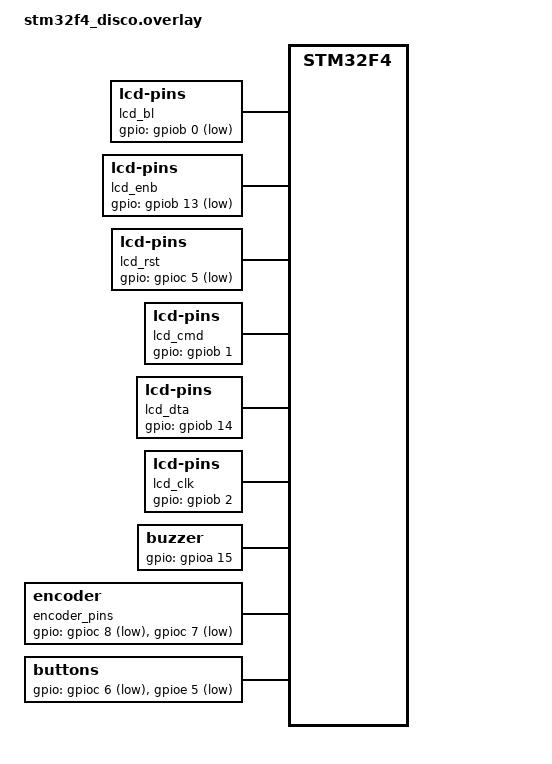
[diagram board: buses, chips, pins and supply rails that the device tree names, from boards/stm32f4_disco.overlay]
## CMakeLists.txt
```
# SPDX-License-Identifier: Apache-2.0

cmake_minimum_required(VERSION 3.20.0)
set(ZEPHYR_EXTRA_MODULES $ENV{ZEPHYR_BASE}../../modules/zpp)
find_package(Zephyr REQUIRED HINTS $ENV{ZEPHYR_BASE})
project(condvar)

FILE(GLOB app_sources src/main.cpp)
target_sources(app PRIVATE ${app_sources})
```

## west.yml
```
# Copyright (c) 2021 Nordic Semiconductor ASA
# SPDX-License-Identifier: Apache-2.0

manifest:
  remotes:
    - name: zephyrproject-rtos
      url-base: https://github.com/zephyrproject-rtos

  projects:
    - name: zephyr
      remote: zephyrproject-rtos
      revision: main
      import:
        name-allowlist:
          - cmsis
          - hal_stm32
```

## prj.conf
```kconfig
CONFIG_GPIO=y
CONFIG_TEST=y
CONFIG_CPLUSPLUS=y
CONFIG_STD_CPP20=y
CONFIG_NEWLIB_LIBC=y
CONFIG_NEWLIB_LIBC_NANO=y
CONFIG_SPEED_OPTIMIZATIONS=y
CONFIG_LIB_CPLUSPLUS=y
CONFIG_HEAP_MEM_POOL_SIZE=4096
CONFIG_DEBUG_OPTIMIZATIONS=n
#CONFIG_COMPILER_OPT="-Wall -Wextra -Werror -Wno-error=empty-body -Wno-error=unused-parameter -Wno-error=type-limits -Wno-error=missing-field-initializers -Wno-error=sign-compare -Wno-error=ignored-qualifiers -Wno-error=old-style-declaration -Wno-error=cast-function-type"
```

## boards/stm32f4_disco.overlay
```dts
/ {				
	lcd_bl: lcd_bl {			
		compatible = "lcd-pins";
		gpios = <&gpiob 0 GPIO_ACTIVE_LOW>;	
	};
	lcd_enb: lcd_enb {			
		compatible = "lcd-pins";
		gpios = <&gpiob 13 GPIO_ACTIVE_LOW>;
	};
	lcd_rst: lcd_rst {			
		compatible = "lcd-pins";
		gpios = <&gpioc 5 GPIO_ACTIVE_LOW>;
	};		
	lcd_cmd: lcd_cmd {			
		compatible = "lcd-pins";
		gpios = <&gpiob 1 GPIO_ACTIVE_HIGH>;
	};		
	lcd_dta: lcd_dta {			
		compatible = "lcd-pins";
		gpios = <&gpiob 14 GPIO_ACTIVE_HIGH>;
	};		
	lcd_clk: lcd_clk {			
		compatible = "lcd-pins";
		gpios = <&gpiob 2 GPIO_ACTIVE_HIGH>;
	};			
	buzzer: buzzer {
		compatible = "buzzer";
		gpios = <&gpioa 15 GPIO_ACTIVE_HIGH>;
	};
	encoder_pins: encoder_pins {
		compatible = "encoder";
		gpios = <&gpioc 8 (GPIO_ACTIVE_LOW | GPIO_PULL_UP)>,
				<&gpioc 7 (GPIO_ACTIVE_LOW | GPIO_PULL_UP)>;
	};
	buttons: buttons {
		compatible = "buttons";
		gpios = <&gpioc 6 (GPIO_ACTIVE_LOW | GPIO_PULL_UP)>,
				<&gpioe 5 (GPIO_ACTIVE_LOW | GPIO_PULL_UP)>;
	};		
};
```

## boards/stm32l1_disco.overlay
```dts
/ {				
	lcd_bl: lcd_bl {			
		compatible = "lcd-pins";
		gpios = <&gpiob 0 GPIO_ACTIVE_LOW>;	
	};
	lcd_enb: lcd_enb {			
		compatible = "lcd-pins";
		gpios = <&gpiob 13 GPIO_ACTIVE_LOW>;
	};
	lcd_rst: lcd_rst {			
		compatible = "lcd-pins";
		gpios = <&gpioc 5 GPIO_ACTIVE_LOW>;
	};		
	lcd_cmd: lcd_cmd {			
		compatible = "lcd-pins";
		gpios = <&gpiob 1 GPIO_ACTIVE_HIGH>;
	};		
	lcd_dta: lcd_dta {			
		compatible = "lcd-pins";
		gpios = <&gpiob 14 GPIO_ACTIVE_HIGH>;
	};		
	lcd_clk: lcd_clk {			
		compatible = "lcd-pins";
		gpios = <&gpiob 2 GPIO_ACTIVE_HIGH>;
	};			
	buzzer: buzzer {
		compatible = "buzzer";
		gpios = <&gpioa 11 GPIO_ACTIVE_LOW>;
	};
	encoder_pins: encoder_pins {
		compatible = "encoder";
		gpios = <&gpioa 2 (GPIO_ACTIVE_LOW | GPIO_PULL_UP)>,
				<&gpiob 4 (GPIO_ACTIVE_LOW | GPIO_PULL_UP)>;
	};
	buttons: buttons {
		compatible = "buttons";
		gpios = <&gpioa 0 (GPIO_ACTIVE_LOW | GPIO_PULL_UP)>,
				<&gpioc 13 (GPIO_ACTIVE_LOW | GPIO_PULL_UP)>;
	};		
};
```

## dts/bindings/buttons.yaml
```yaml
description: GPIO input pin to buttons

compatible: "buttons"

properties:
  gpios:
    type: phandle-array
    required: true
    description: |
      The GPIO connected to the buttons pin
```

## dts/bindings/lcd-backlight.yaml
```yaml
description: GPIO pin to switch a lcd-backlight

compatible: "lcd-backlight"

properties:
  gpios:
    type: phandle-array
    required: true
    description: |
      The GPIO connected to the LCD backlight pin
```

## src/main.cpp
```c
/*
    Main.cpp
	
    Created on: July 31, 2023

    Author: Coskun ERGAN
*/

#include <zephyr/devicetree.h>
#include <zephyr/kernel.h>

#include <zpp.hpp>
#include <chrono>
#include "printf_io.h"
#include "button.h"
#include "buzzer.h"
#include "encoder.h"

#define STACK_SIZE (1024 + CONFIG_TEST_EXTRA_STACK_SIZE)

using namespace zpp;
using namespace std::chrono;
using namespace device_printf;
using namespace device_button;
using namespace device_buzzer;
using namespace device_encoder;

#define NUM_THREADS 2

mutex enc_mutex;
mutex btn_mutex;

namespace
{
    ZPP_THREAD_STACK_ARRAY_DEFINE(tstack, NUM_THREADS, STACK_SIZE);
    thread_data tcb[NUM_THREADS];
    thread t[NUM_THREADS];
}

void btn_task(int my_id) noexcept
{
    unique_lock lk(btn_mutex);

    button.set_debounce_time(100ms);

    for(;;)
    {
        button.event_cv().wait(lk);
        buzzer.beep(20ms);
        printf_io.turn_off_bl_enable();
        printf("\rButton : %d Pressed.  ", button.get_id());
    }
}

void enc_task(int my_id) noexcept
{
    unique_lock lk(enc_mutex);

    for(;;)
    {
        encoder.event_cv().wait(lk);
        buzzer.beep(5ms);
        printf_io.turn_off_bl_enable();
        printf("\rEnc : %d  ", encoder.get_count());
    }
}

int main(void)
{
    printf_io.turn_off_bl_enable();
    printf("\rRestart..");
    buzzer.beep();

    const thread_attr attrs(
        thread_prio::preempt(10),
        thread_inherit_perms::no,
        thread_suspend::no
    );

    t[0] = thread(tcb[0], tstack(0), attrs, enc_task, 1);
    t[1] = thread(tcb[1], tstack(1), attrs, btn_task, 2);

    for(int i = 0; i < NUM_THREADS; i++)
    {
        t[i].join();
    }

    return 0;
}
```

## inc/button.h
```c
/*
    Button Lib

    Created on: July 26, 2023

    Author: Coskun ERGAN
*/

#pragma once
#include <stdio.h>
#include <zephyr/devicetree.h>
#include <zephyr/drivers/gpio.h>
#include <zephyr/kernel.h>

#include <zpp.hpp>
#include <zpp/timer.hpp>
#include <chrono>
#include <zpp/thread.hpp>
#include <zpp/fmt.hpp>
#include <forward_list>
#include <functional>

namespace device_button
{
    using namespace zpp;
    using namespace std::chrono;
#define NUM_BUTTON_PINS DT_PROP_LEN(DT_PATH(buttons), gpios)
#if !DT_NODE_EXISTS(DT_NODELABEL(buttons))
#error "Overlay for button node not properly defined."
#endif
    static const struct gpio_dt_spec buttons[] =
    {
        GPIO_DT_SPEC_GET_BY_IDX(DT_NODELABEL(buttons), gpios, 0),
#if NUM_BUTTON_PINS >= 2
        GPIO_DT_SPEC_GET_BY_IDX(DT_NODELABEL(buttons), gpios, 1),
#endif
#if NUM_BUTTON_PINS >= 3
        GPIO_DT_SPEC_GET_BY_IDX(DT_NODELABEL(buttons), gpios, 2),
#endif
#if NUM_BUTTON_PINS >= 4
        GPIO_DT_SPEC_GET_BY_IDX(DT_NODELABEL(buttons), gpios, 3),
#endif
#if NUM_BUTTON_PINS >= 5
        GPIO_DT_SPEC_GET_BY_IDX(DT_NODELABEL(buttons), gpios, 4),
#endif
#if NUM_BUTTON_PINS >= 6
        GPIO_DT_SPEC_GET_BY_IDX(DT_NODELABEL(buttons), gpios, 5),
#endif
    };

    static struct gpio_callback button_cb_data[NUM_BUTTON_PINS];
    static condition_variable button_cv;
    static milliseconds debounce_time;
    static size_t button_id;

    void timer_callback(timer_base *t);

    class timer_wrapper
    {
    public:
        timer_wrapper() noexcept : tmr(basic_timer(timer_callback)) {};
        basic_timer<void(*)(timer_base *)> tmr;
    };
    timer_wrapper timers[NUM_BUTTON_PINS];

    void timer_callback(timer_base *t) noexcept
    {
        for(size_t i = 0; i < NUM_BUTTON_PINS; i++)
        {
            if(&timers[i].tmr == t)
            {
                gpio_add_callback(buttons[i].port, &button_cb_data[i]);
            }
        }
    }

    void button_isr(const struct device *dev, struct gpio_callback *cb, uint32_t pin) noexcept
    {
        for(size_t i = 0; i < NUM_BUTTON_PINS; i++)
        {
            if(&button_cb_data[i] == cb)
            {
                button_id = i;
                gpio_remove_callback(buttons[i].port, &button_cb_data[i]);
                timers[i].tmr.start(debounce_time);
            }
        }
        button_cv.notify_all();
    }

    class button
    {
    public:
        button()
        {
            set_debounce_time();
            for(size_t i = 0; i < NUM_BUTTON_PINS; i++)
            {
                gpio_pin_configure_dt(&buttons[i], GPIO_INPUT);
                gpio_pin_interrupt_configure_dt(&buttons[i], GPIO_INT_EDGE_TO_ACTIVE);
                gpio_init_callback(&button_cb_data[i], button_isr, BIT(buttons[i].pin));
                gpio_add_callback(buttons[i].port, &button_cb_data[i]);
            }
        }
        ~button() = default;
        button(button &&) = delete;
        button &operator=(button &&) = delete;
        button(const button &) = delete;
        button &operator=(const button &) = delete;

        void set_debounce_time(milliseconds ms = 50ms)
        {
            debounce_time = ms;
        }

        milliseconds get_debounce_time()
        {
            return debounce_time;
        }

        size_t get_id()
        {
            return button_id;
        }        

        condition_variable &event_cv()
        {
            return button_cv;
        }
    };

    button button;
}
```

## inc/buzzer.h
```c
/*
    Buzzer Lib

    Created on: March 13, 2023

    Author: Coskun ERGAN
*/

#pragma once
#include <stdio.h>
#include <zephyr/devicetree.h>
#include <zephyr/drivers/gpio.h>
#include <zephyr/kernel.h>

#include <zpp.hpp>
#include <zpp/timer.hpp>
#include <chrono>
#include <zpp/thread.hpp>
#include <zpp/fmt.hpp>

namespace device_buzzer
{
    using namespace zpp;
    using namespace std::chrono;
#if !DT_NODE_EXISTS(DT_NODELABEL(buzzer))
#error "Overlay for gipo node not properly defined."
#endif

    static const struct gpio_dt_spec buzzer_pin =
        GPIO_DT_SPEC_GET_OR(DT_NODELABEL(buzzer), gpios,
                            {
                                0
                            });

    void timer_callback(timer_base *t) noexcept
    {
        gpio_pin_set_dt(&buzzer_pin, false);
    }

    auto g_t = make_timer(timer_callback);
    
    class buzzer
    {
    public:
        buzzer()
        {
            if(gpio_pin_configure_dt(&buzzer_pin, GPIO_OUTPUT_INACTIVE) != 0)
            {
                return;
            }
        }
        ~buzzer() = default;
        buzzer(buzzer &&) = delete;
        buzzer &operator=(buzzer &&) = delete;
        buzzer(const buzzer &) = delete;
        buzzer &operator=(const buzzer &) = delete;

        void beep(milliseconds ms = 50ms)
        {
            gpio_pin_set_dt(&buzzer_pin, true);
            g_t.start(ms);
        }
    private:
    };

    buzzer buzzer;
}
```

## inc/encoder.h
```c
/*
    Encoder Lib

    Created on: March 13, 2023

    Author: Coskun ERGAN
*/

#pragma once
#include <stdio.h>
#include <zephyr/devicetree.h>
#include <zephyr/drivers/gpio.h>
#include <zephyr/kernel.h>

#include <zpp.hpp>
#include <zpp/timer.hpp>
#include <chrono>
#include <zpp/thread.hpp>
#include <zpp/fmt.hpp>
#include <zpp/atomic_var.hpp>

namespace device_encoder
{
    using namespace zpp;
    using namespace std::chrono;
#if !DT_NODE_EXISTS(DT_NODELABEL(encoder_pins))
#error "Overlay for gipo node not properly defined."
#endif
    static const struct gpio_dt_spec encoder_pins[2] =
    {
        GPIO_DT_SPEC_GET_BY_IDX(DT_NODELABEL(encoder_pins), gpios, 0),
        GPIO_DT_SPEC_GET_BY_IDX(DT_NODELABEL(encoder_pins), gpios, 1)
    };

    static struct gpio_callback encoder_cb_data;
    static milliseconds m_debounce_time;
    static atomic_var m_atomic_count;
    static condition_variable m_encoder_cv;

    void timer_callback(timer_base *t)
    {
        gpio_add_callback(encoder_pins[0].port, &encoder_cb_data);
    }

    basic_timer timer = basic_timer(timer_callback);

    void encoder_isr(const struct device *dev, struct gpio_callback *cb, uint32_t pin) noexcept
    {
        if(gpio_pin_get_dt(&encoder_pins[1]))
        {
            ++m_atomic_count;
        }
        else
        {
            --m_atomic_count;
        }
        gpio_remove_callback(encoder_pins[0].port, &encoder_cb_data);
        timer.start(m_debounce_time);
        m_encoder_cv.notify_all();
    }

    class encoder
    {
    public:
        encoder()
        {
            set_debounce_time();
            gpio_pin_configure_dt(&encoder_pins[0], GPIO_INPUT);
            gpio_pin_configure_dt(&encoder_pins[1], GPIO_INPUT);
            gpio_pin_interrupt_configure_dt(&encoder_pins[0], GPIO_INT_EDGE_TO_ACTIVE);
            gpio_init_callback(&encoder_cb_data, encoder_isr, BIT(encoder_pins[0].pin));
            gpio_add_callback(encoder_pins[0].port, &encoder_cb_data);
        }
        ~encoder() = default;
        encoder(encoder &&) = delete;
        encoder &operator=(encoder &&) = delete;
        encoder(const encoder &) = delete;
        encoder &operator=(const encoder &) = delete;

        void set_debounce_time(milliseconds ms = 50ms)
        {
            m_debounce_time = ms;
        }

        milliseconds get_debounce_time()
        {
            return m_debounce_time;
        }

        int get_count()
        {
            return m_atomic_count; // m_atomic_count.load();
        }

        void set_count(int val)
        {
            m_atomic_count = val; // m_atomic_count.store(val);
        }

        condition_variable &event_cv()
        {
            return m_encoder_cv;
        }
    };

    encoder encoder;
}
```

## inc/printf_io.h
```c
/*
    C Type Printf Implementation

    Created on: July 26, 2023

    Author: Coskun ERGAN
*/

#pragma once
#include <stdio.h>
#include <zephyr/devicetree.h>
#include <zephyr/drivers/gpio.h>
#include <zephyr/kernel.h>
#include <zephyr/arch/cpu.h>
#include <zephyr/sys/arch_interface.h>

#include <zpp.hpp>
#include <chrono>

namespace device_printf
{
    extern "C" void __stdout_hook_install(int (*fn)(int));
    extern "C" int printf_io_write(int c);
    const std::chrono::milliseconds bl_msec = std::chrono::milliseconds(5000);

    static const struct gpio_dt_spec lcd_bl =
        GPIO_DT_SPEC_GET_OR(DT_NODELABEL(lcd_bl), gpios,
                            {
                                0
                            });
    static const struct gpio_dt_spec lcd_rst =
        GPIO_DT_SPEC_GET_OR(DT_NODELABEL(lcd_rst), gpios,
                            {
                                0
                            });
    static const struct gpio_dt_spec lcd_enb =
        GPIO_DT_SPEC_GET_OR(DT_NODELABEL(lcd_enb), gpios,
                            {
                                0
                            });
    static const struct gpio_dt_spec lcd_cmd =
        GPIO_DT_SPEC_GET_OR(DT_NODELABEL(lcd_cmd), gpios,
                            {
                                0
                            });
    static const struct gpio_dt_spec lcd_dta =
        GPIO_DT_SPEC_GET_OR(DT_NODELABEL(lcd_dta), gpios,
                            {
                                0
                            });
    static const struct gpio_dt_spec lcd_clk =
        GPIO_DT_SPEC_GET_OR(DT_NODELABEL(lcd_clk), gpios,
                            {
                                0
                            });

    const uint8_t init_params[] =
    {
        0xF1, 0x0F, 0xF8, 0x01, 0x06, 0xF0, 0x00, 0x2D, 0xA8, 0xA3, 0x81, 0x8, 0xFF
    };

    const uint8_t char_table[111][6] =
    {
        0x00, 0x00, 0x00, 0x00, 0x00, 0x00, // SPACE
        0x00, 0x00, 0x5F, 0x00, 0x00, 0x00, // !
        0x00, 0x03, 0x00, 0x03, 0x00, 0x00, // "
        0x14, 0x3E, 0x14, 0x3E, 0x14, 0x00, // #
        0x24, 0x2A, 0x7F, 0x2A, 0x12, 0x00, // $
        0x43, 0x33, 0x08, 0x66, 0x61, 0x00, // %
        0x36, 0x49, 0x55, 0x22, 0x50, 0x00, // &
        0x00, 0x05, 0x03, 0x00, 0x00, 0x00, // '
        0x00, 0x1C, 0x22, 0x41, 0x00, 0x00, // (
        0x00, 0x41, 0x22, 0x1C, 0x00, 0x00, // )
        0x14, 0x08, 0x3E, 0x08, 0x14, 0x00, // *
        0x08, 0x08, 0x3E, 0x08, 0x08, 0x00, // +
        0x00, 0x50, 0x30, 0x00, 0x00, 0x00, // ,
        0x08, 0x08, 0x08, 0x08, 0x08, 0x00, // -
        0x00, 0x60, 0x60, 0x00, 0x00, 0x00, // .
        0x20, 0x10, 0x08, 0x04, 0x02, 0x00, // /
        0x3E, 0x51, 0x49, 0x45, 0x3E, 0x00, // 0
        0x04, 0x02, 0x7F, 0x00, 0x00, 0x00, // 1
        0x42, 0x61, 0x51, 0x49, 0x46, 0x00, // 2
        0x22, 0x41, 0x49, 0x49, 0x36, 0x00, // 3
        0x18, 0x14, 0x12, 0x7F, 0x10, 0x00, // 4
        0x27, 0x45, 0x45, 0x45, 0x39, 0x00, // 5
        0x3E, 0x49, 0x49, 0x49, 0x32, 0x00, // 6
        0x01, 0x01, 0x71, 0x09, 0x07, 0x00, // 7
        0x36, 0x49, 0x49, 0x49, 0x36, 0x00, // 8
        0x26, 0x49, 0x49, 0x49, 0x3E, 0x00, // 9
        0x00, 0x36, 0x36, 0x00, 0x00, 0x00, // :
        0x00, 0x56, 0x36, 0x00, 0x00, 0x00, // ;
        0x08, 0x14, 0x22, 0x41, 0x00, 0x00, // <
        0x14, 0x14, 0x14, 0x14, 0x14, 0x00, // =
        0x00, 0x41, 0x22, 0x14, 0x08, 0x00, // >
        0x02, 0x01, 0x51, 0x09, 0x06, 0x00, // ?
        0x00, 0x06, 0x09, 0x09, 0x06, 0x00, // @
        0x7E, 0x09, 0x09, 0x09, 0x7E, 0x00, // A
        0x7F, 0x49, 0x49, 0x49, 0x36, 0x00, // B
        0x3E, 0x41, 0x41, 0x41, 0x22, 0x00, // C
        0x7F, 0x41, 0x41, 0x41, 0x3E, 0x00, // D
        0x7F, 0x49, 0x49, 0x49, 0x41, 0x00, // E
        0x7F, 0x09, 0x09, 0x09, 0x01, 0x00, // F
        0x3E, 0x41, 0x41, 0x49, 0x3A, 0x00, // G
        0x7F, 0x08, 0x08, 0x08, 0x7F, 0x00, // H
        0x00, 0x41, 0x7F, 0x41, 0x00, 0x00, // I
        0x30, 0x40, 0x40, 0x40, 0x3F, 0x00, // J
        0x7F, 0x08, 0x14, 0x22, 0x41, 0x00, // K
        0x7F, 0x40, 0x40, 0x40, 0x40, 0x00, // L
        0x7F, 0x02, 0x0C, 0x02, 0x7F, 0x00, // M
        0x7F, 0x02, 0x04, 0x08, 0x7F, 0x00, // N
        0x3E, 0x41, 0x41, 0x41, 0x3E, 0x00, // O
        0x7F, 0x09, 0x09, 0x09, 0x06, 0x00, // P
        0x1E, 0x21, 0x21, 0x21, 0x5E, 0x00, // Q
        0x7F, 0x09, 0x09, 0x09, 0x76, 0x00, // R
        0x26, 0x49, 0x49, 0x49, 0x32, 0x00, // S
        0x01, 0x01, 0x7F, 0x01, 0x01, 0x00, // T
        0x3F, 0x40, 0x40, 0x40, 0x3F, 0x00, // U
        0x1F, 0x20, 0x40, 0x20, 0x1F, 0x00, // V
        0x7F, 0x20, 0x10, 0x20, 0x7F, 0x00, // W
        0x63, 0x14, 0x08, 0x14, 0x63, 0x00, // X
        0x07, 0x08, 0x70, 0x08, 0x07, 0x00, // Y
        0x61, 0x51, 0x49, 0x45, 0x43, 0x00, // Z
        0x00, 0x7F, 0x41, 0x00, 0x00, 0x00, // [
        0x02, 0x04, 0x08, 0x10, 0x20, 0x00, //
        0x00, 0x00, 0x41, 0x7F, 0x00, 0x00, // ]
        0x00, 0x06, 0x09, 0x09, 0x06, 0x00, // ^ -> degree
        0x40, 0x40, 0x40, 0x40, 0x40, 0x00, // _
        0x00, 0x01, 0x02, 0x04, 0x00, 0x00, // `
        0x20, 0x54, 0x54, 0x54, 0x78, 0x00, // a
        0x7F, 0x44, 0x44, 0x44, 0x38, 0x00, // b
        0x38, 0x44, 0x44, 0x44, 0x44, 0x00, // c
        0x38, 0x44, 0x44, 0x44, 0x7F, 0x00, // d
        0x38, 0x54, 0x54, 0x54, 0x18, 0x00, // e
        0x04, 0x04, 0x7E, 0x05, 0x05, 0x00, // f
        0x08, 0x54, 0x54, 0x54, 0x3C, 0x00, // g
        0x7F, 0x08, 0x04, 0x04, 0x78, 0x00, // h
        0x00, 0x44, 0x7D, 0x40, 0x00, 0x00, // i
        0x20, 0x40, 0x44, 0x3D, 0x00, 0x00, // j
        0x7F, 0x10, 0x28, 0x44, 0x00, 0x00, // k
        0x00, 0x41, 0x7F, 0x40, 0x00, 0x00, // l
        0x7C, 0x04, 0x78, 0x04, 0x78, 0x00, // m
        0x7C, 0x08, 0x04, 0x04, 0x78, 0x00, // n
        0x38, 0x44, 0x44, 0x44, 0x38, 0x00, // o
        0x7C, 0x14, 0x14, 0x14, 0x08, 0x00, // p
        0x08, 0x14, 0x14, 0x14, 0x7C, 0x00, // q
        0x00, 0x7C, 0x08, 0x04, 0x04, 0x00, // r
        0x48, 0x54, 0x54, 0x54, 0x20, 0x00, // s
        0x04, 0x04, 0x3F, 0x44, 0x44, 0x00, // t
        0x3C, 0x40, 0x40, 0x20, 0x7C, 0x00, // u
        0x1C, 0x20, 0x40, 0x20, 0x1C, 0x00, // v
        0x3C, 0x40, 0x30, 0x40, 0x3C, 0x00, // w
        0x44, 0x28, 0x10, 0x28, 0x44, 0x00, // x
        0x0C, 0x50, 0x50, 0x50, 0x3C, 0x00, // y
        0x44, 0x64, 0x54, 0x4C, 0x44, 0x00, // z
        0x00, 0x08, 0x36, 0x41, 0x41, 0x00, // {
        0x00, 0x00, 0x7F, 0x00, 0x00, 0x00, // |
        0x41, 0x41, 0x36, 0x08, 0x00, 0x00, // }
        0x02, 0x01, 0x02, 0x04, 0x02, 0x00, // ~
        0x30, 0x48, 0xC8, 0x48, 0x00, 0x00, //ç
        0x10, 0xAA, 0xAA, 0xA8, 0x70, 0x00, //ğ
        0x00, 0x00, 0x7C, 0x00, 0x00, 0x00, //ı
        0x38, 0x45, 0x44, 0x45, 0x38, 0x00, //ö
        0x58, 0x54, 0xD4, 0x54, 0x30, 0x00, //ş
        0x38, 0x41, 0x40, 0x41, 0x38, 0x00, //ü
        0x3E, 0x41, 0xC1, 0x41, 0x22, 0x00, //Ç
        0x3C, 0x43, 0x53, 0x53, 0x34, 0x00, //Ğ
        0x00, 0x00, 0x7D, 0x00, 0x00, 0x00, //İ
        0x3C, 0x43, 0x42, 0x43, 0x3C, 0x00, //Ö
        0x26, 0x49, 0xC9, 0x49, 0x32, 0x00, //Ş
        0x3C, 0x41, 0x40, 0x41, 0x3C, 0x00, //Ü
        0x00, 0x00, 0x11, 0x15, 0x0A, 0x00, //3
        0x10, 0x38, 0x7C, 0xFE, 0x38, 0x38, //<
        0x38, 0x38, 0xFE, 0x7C, 0x38, 0x10  //>
    };

    class printf_io
    {
    public:
        //static std::unique_ptr<std::mutex> m_mutex;
        printf_io()
        {
            __stdout_hook_install(printf_io_write);
            setvbuf(stdout, NULL, _IONBF, 0);
            gpio_pin_configure_dt(&lcd_rst, GPIO_OUTPUT_INACTIVE);
            gpio_pin_configure_dt(&lcd_bl, GPIO_OUTPUT_INACTIVE);
            gpio_pin_configure_dt(&lcd_enb, GPIO_OUTPUT_INACTIVE);
            gpio_pin_configure_dt(&lcd_cmd, GPIO_OUTPUT_INACTIVE);
            gpio_pin_configure_dt(&lcd_dta, GPIO_OUTPUT_INACTIVE);
            gpio_pin_configure_dt(&lcd_clk, GPIO_OUTPUT_INACTIVE);
            volatile uint8_t i = 0;
            gpio_pin_set_dt(&lcd_rst, true);
            while(--i);
            gpio_pin_set_dt(&lcd_enb, true);
            gpio_pin_set_dt(&lcd_rst, false);
            while(--i);
            gpio_pin_set_dt(&lcd_cmd, false);
            i = 0;
            do
            {
                io_send(init_params[i++]);
            }
            while(i <= sizeof(init_params));
            io_send(0xAF);
            io_send(0xB0);
            for(uint8_t i = 0; i < 16; i++)
            {
                gpio_pin_set_dt(&lcd_cmd, false);
                io_send(i);
                io_send(0x10);
                gpio_pin_set_dt(&lcd_cmd, true);
                io_send(0x00);
            }
            gpio_pin_set_dt(&lcd_cmd, false);
            io_send(0xB8);
            for(i = 0; i < 96; i++)
            {
                gpio_pin_set_dt(&lcd_cmd, false);
                io_send(i & 0xF);
                io_send((i >> 4) | 0x10);
                gpio_pin_set_dt(&lcd_cmd, true);
                io_send(0x00);
            }
            gpio_pin_set_dt(&lcd_cmd, false);
            io_send(0xB0);
            io_send(0x00);
            io_send(0x11);
            gpio_pin_set_dt(&lcd_cmd, true);
            ch_count = 0;
        }
        ~printf_io() = default;
        printf_io(printf_io &&) = delete;
        printf_io &operator=(printf_io &&) = delete;
        printf_io(const printf_io &) = delete;
        printf_io &operator=(const printf_io &) = delete;

        int io_putchar(int ch)
        {
            if((ch == '\r') || (ch_count > 25))
            {
                if(ch == '\r')
                {
                    ch_count = 0;
                }
                gpio_pin_set_dt(&lcd_cmd, false);
                io_send(0xB0);
                io_send(0x00);
                io_send(0x11);
                gpio_pin_set_dt(&lcd_cmd, true);

            }
            else if(ch == '\n')
            {
                if(ch_count < 14)
                {
                    ch_count = 14;
                    gpio_pin_set_dt(&lcd_cmd, false);
                    io_send(0xB1);
                    io_send(0x00);
                    io_send(0x11);
                    gpio_pin_set_dt(&lcd_cmd, true);
                }
            }
            else
            {
                if(++ch_count == 14)
                {
                    io_send(0);
                    io_send(0);
                    gpio_pin_set_dt(&lcd_cmd, false);
                    io_send(0xB1);
                    io_send(0x00);
                    io_send(0x11);
                    gpio_pin_set_dt(&lcd_cmd, true);
                }
                uint8_t temp = ch - 0x20;
                for(uint8_t i = 0; i < 6; i++)
                {
                    io_send(char_table[temp][i]);
                }
            }
            return ch;
        }

        void turn_off_bl_enable()
        {
            // if(!m_tim_ptr)
            // {
            //     sys::timer bl_timer(std::chrono::milliseconds(bl_msec), [&]
            //     {
            //         gpio_pin_set_dt(&lcd_bl, false);
            //         return false;
            //     });
            //     m_tim_ptr = std::make_unique<sys::timer>(std::move(bl_timer));
            //     m_tim_ptr->start();
            // }
            // else if(m_tim_ptr->running())
            // {
            //     m_tim_ptr->stop();
            //     m_tim_ptr->start();
            // }
            // else
            // {
            //     m_tim_ptr->start();
            // }
            gpio_pin_set_dt(&lcd_bl, true);
        }

    private:
        uint8_t ch_count;
        //std::unique_ptr<sys::timer> m_tim_ptr;

        void io_send(uint8_t byte)
        {
            for(uint8_t i = 0; i < 8; i++)
            {
                gpio_pin_set_dt(&lcd_clk, false);
                if((byte & 0x80) == 0x80)
                {
                    gpio_pin_set_dt(&lcd_dta, true);
                }
                else
                {
                    gpio_pin_set_dt(&lcd_dta, false);
                }
                byte <<= 1;
                gpio_pin_set_dt(&lcd_clk, true);
            }
        }
    };

    //std::unique_ptr<std::mutex> printf_io::m_mutex;
    printf_io printf_io;

    extern "C" int printf_io_write(int c)
    {
        // if(!printf_io::m_mutex)
        // {
        //     printf_io::m_mutex = std::unique_ptr<std::mutex>(new std::mutex());
        // }
        // std::lock_guard<std::mutex> lg(*printf_io::m_mutex);
        printf_io.io_putchar(c);
        return c;
    }
}
```
